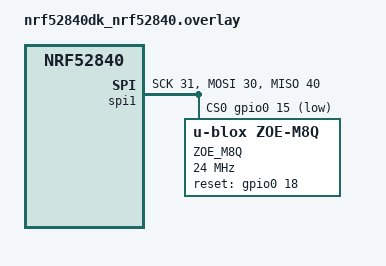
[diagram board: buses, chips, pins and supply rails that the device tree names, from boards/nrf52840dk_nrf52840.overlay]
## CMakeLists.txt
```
#
# Copyright (c) 2019 TDK Invensense
#
# SPDX-License-Identifier: Apache-2.0
#

cmake_minimum_required(VERSION 3.13.1)
find_package(Zephyr REQUIRED HINTS $ENV{ZEPHYR_BASE})
project(zoem8q)

FILE(GLOB app_sources src/*.c)
target_sources(app PRIVATE ${app_sources})
```

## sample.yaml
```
#
# Copyright (c) 2020 TDK Invensense
#
# SPDX-License-Identifier: Apache-2.0
#

sample:
  name: ZOEM8Q Sensor Sample
tests:
  sample.sensor.zoem8q:
    build_only: true
    platform_allow: nrf52840dk_nrf52840 nrf52dk_nrf52832
    tags: sensors
```

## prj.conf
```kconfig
#
# Copyright (c) 2019 Nordic Semiconductor ASA
#
# SPDX-License-Identifier: Apache-2.0
#

# FIXME - update prj.conf

CONFIG_SPI=y
CONFIG_SENSOR=y
CONFIG_ZOEM8Q=y
```

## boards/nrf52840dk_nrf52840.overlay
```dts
/******************************************************************************
 *
 * @file            nrf52840dk_nrf52840.overlay
 *
 * @brief           Overlay for ZOE-M8Q sample
 *
 * @details         Templating off of icm42605 
 * 
 * @author(s)       Marshall Wingerson
 *
 * @created         05/31/2021   (MM/DD/YYYY)
 *
 * @copyright       © 2021 SWYM, LLC. All Rights Reserved.
 *
 *****************************************************************************/

/* FIXME - Should't need SPI configuration */

&spi1 {
	compatible = "nordic,nrf-spi";
	status = "okay";
	sck-pin = <31>;
	mosi-pin = <30>;
	miso-pin = <40>;
	cs-gpios = <&gpio0 15 GPIO_ACTIVE_LOW>;

	zoe-m8q@0 {
		compatible = "u-blox,zoe-m8q";
		spi-max-frequency = <24000000>;
		reg = <0>;
		label = "ZOE_M8Q";

		/* int-gpios = <&gpio0 18 GPIO_ACTIVE_HIGH>; */
		reset-gpios = <&gpio0 18 GPIO_ACTIVE_HIGH>; 
	};
};
```

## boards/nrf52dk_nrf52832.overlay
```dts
/******************************************************************************
 *
 * @file            nrf52dk_nrf52832.overlay
 *
 * @brief           Overlay for ZOE-M8Q sample
 *
 * @details         Templating off of icm42605 
 * 
 * @author(s)       Marshall Wingerson
 *
 * @created         05/31/2021   (MM/DD/YYYY)
 *
 * @copyright       © 2020 SWYM, LLC. All Rights Reserved.
 *
 *****************************************************************************/

/* FIXME - Should't need SPI configuration */

&spi0 {
	compatible = "nordic,nrf-spi";
	status = "okay";
	sck-pin = <27>;
	mosi-pin = <26>;
	miso-pin = <23>;
	cs-gpios = <&gpio0 22 GPIO_ACTIVE_LOW>;
	zoe_m8q@0 {
		compatible = "u-blox,zoe-m8q";
		spi-max-frequency = <24000000>;
		reg = <0>;
		label = "ZOE_M8Q";
		int-gpios = <&gpio0 18 GPIO_ACTIVE_HIGH>;
	};
};
```

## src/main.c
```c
/******************************************************************************
 *
 * @file            main.c
 *
 * @brief           Sample sensor demo for u-blox ZOE-M8Q
 *
 * @details         Using Zephyr icm42605 as a template
 * 
 * @author(s)       Marshall Wingerson
 *
 * @created         05/31/2021   (MM/DD/YYYY)
 *
 * @copyright       © 2020 SWYM, LLC. All Rights Reserved.
 *
 *****************************************************************************/

#include <zephyr.h>
#include <device.h>
#include <drivers/sensor.h>
#include <stdio.h>

struct sensor_value data_valid, mode, time, latitude, longitude,
                    altitude, groundspeed, true_course;


void print_gps_data() 
{
    printk("GPS data - Zephyr doesn't support printing floats :/\n");
    printk("Data Valid:\t%c\n", data_valid.val1);
    printk("GPS mode:\t%c\n", mode.val1);
    printk("GPS Time:\t%d\tHH:MM:SS\n", time.val1);
    printk("Latitude:\t%d.%d DD:MM.MMMM\n", latitude.val1, latitude.val2);
    printk("Longitude:\t%d.%d DDD:MM.MMMM\n", longitude.val1, longitude.val2);
    printk("Altitude:\t%d xxxx => xxx.x m\n", altitude.val1);
    printk("Groundspeed:\t%06d xxxxxx => xxx.xxx knots\n", groundspeed.val1);
    printk("True Course:\t%d\n", true_course.val1);
    printk("\n");
}

void main(void)
{
    const char *const label = DT_LABEL(DT_INST(0, u_blox_zoe_m8q));
    const struct device *gps = device_get_binding(label);

    if (!gps) {
        printf("Failed to find sensor %s\n", label);
        return;
    }

    while(1) {
        //Poll sensor to get a new set of NMEA strings
        printk("Fetching data from GPS\n");
        sensor_sample_fetch(gps);

        printk("Getting sensor channel\n");
        sensor_channel_get(gps, SENSOR_CHAN_GPS_DATA_VALID, &data_valid);
        sensor_channel_get(gps, SENSOR_CHAN_GPS_MODE, &mode);
        sensor_channel_get(gps, SENSOR_CHAN_GPS_TIME, &time);
        sensor_channel_get(gps, SENSOR_CHAN_GPS_LATITUDE, &latitude);
        sensor_channel_get(gps, SENSOR_CHAN_GPS_LONGITUDE, &longitude);
        sensor_channel_get(gps, SENSOR_CHAN_GPS_ALTITUDE, &altitude);
        sensor_channel_get(gps, SENSOR_CHAN_GPS_GROUNDSPEED, &groundspeed);
        sensor_channel_get(gps, SENSOR_CHAN_GPS_TRUE_COURSE, &true_course);

        print_gps_data();

		k_sleep(K_MSEC(1000));
	}

}
```
